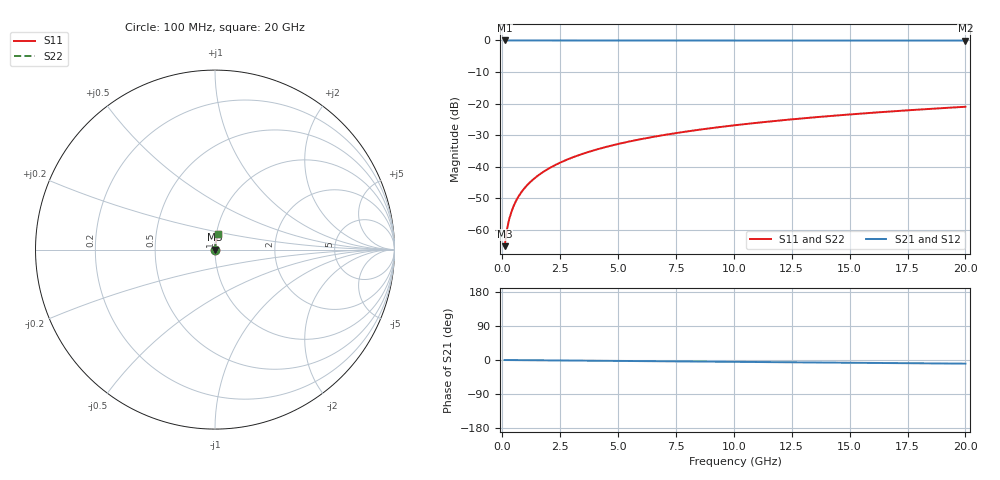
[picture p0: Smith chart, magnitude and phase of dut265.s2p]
! Touchstone file exported from HFSS 2026.1.0
!  File:  C:/ffzhzh/LocalFiles/Ansys_Project_Files/temp_train_TSV_265_1782993171_40604.aedt
!  Generated:  07:54:25 PM Jul  2, 2026
!  Design:  TSV
!  Project:  temp_train_TSV_265_1782993171_40604
! Variables:
!  h_bsmrdl = 2um
!  h_ox = 20um
!  h_rdl = 5um
!  h_sub = 74.91um
!  h_tmrdl = 5um
!  h_tsv = 74.91um
!  h_via = 3um
!  l_bsmrdl = 300um
!  l_sub = 412.32um
!  l_tmrdl = 200um
!  m_sub = 200um
!  pitch = 58.76um
!  r_tsv = 6.16um
!  s_tmrdl = 10um
!  w_bsmrdl = 18um
!  w_sub = 500um
!  w_tmrdl = 12um
!  x_tsv_center1 = 206um
!  x_tsv_center2 = 524um
!  x_tsv_center3 = 736um
!  x_tsv_center4 = 1054um
!  x_tsv_center5 = 1266um
!  x_tsv_center6 = 1584um
# GHz S MA R 50.000000
! Terminal data exported
! Port[1] = TSV1_1_T1
! Port[2] = TSV1_1_T2
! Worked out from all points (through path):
!   200 points, 100 MHz to 20 GHz, reference 50 ohm
!   highest |S21| = 0.00 dB at 100 MHz (marker M1); lowest = 0.0 dB at 20 GHz (marker M2)
!   group delay of S21, straight-line fit = 1.34 ps
!   lowest |S11| = -65.1 dB at 100 MHz (marker M3), VSWR 1.00, Z = 50 + j0.0489 ohm
!   |S11| at or under -10 dB: start of sweep to end of sweep
!   |S22| runs from -65.1 to -21.0 dB; largest |S21 - S12| = 3.5e-15
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0.1  0.0005529 62.1  0.9997 -0.1  0.9997 -0.1  0.0005529 62.1
! Gamma 0 0 0 0
! Port Impedance 50 0 50 0
0.2  0.001012 74.6  0.9997 -0.1  0.9997 -0.1  0.001012 74.6
0.3  0.001487 79.0  0.9997 -0.2  0.9997 -0.2  0.001487 79.0
0.4  0.001963 81.1  0.9997 -0.2  0.9997 -0.2  0.001963 81.1
0.5  0.002438 82.4  0.9997 -0.3  0.9997 -0.3  0.002438 82.4
0.6  0.00291 83.1  0.9997 -0.3  0.9997 -0.3  0.00291 83.1
0.7  0.003379 83.7  0.9996 -0.4  0.9996 -0.4  0.003379 83.7
0.8  0.003845 84.1  0.9996 -0.4  0.9996 -0.4  0.003845 84.1
1  0.004771 84.6  0.9996 -0.5  0.9996 -0.5  0.004771 84.6
1.4  0.006609 85.3  0.9995 -0.7  0.9995 -0.7  0.006609 85.3
1.7  0.007981 85.5  0.9995 -0.8  0.9995 -0.8  0.007981 85.5
2  0.00935 85.7  0.9994 -1.0  0.9994 -1.0  0.00935 85.7
2.7  0.01254 85.9  0.9993 -1.3  0.9993 -1.3  0.01254 85.9
3.5  0.01617 85.8  0.9992 -1.7  0.9992 -1.7  0.01617 85.8
4.2  0.01933 85.7  0.999 -2.1  0.999 -2.1  0.01933 85.7
5  0.02293 85.5  0.9989 -2.4  0.9989 -2.4  0.02293 85.5
6.8  0.031 84.9  0.9985 -3.3  0.9985 -3.3  0.031 84.9
8.3  0.03769 84.3  0.9982 -4.0  0.9982 -4.0  0.03769 84.3
10.1  0.04569 83.6  0.9978 -4.9  0.9978 -4.9  0.04569 83.6
13.4  0.06029 82.2  0.9968 -6.5  0.9968 -6.5  0.06029 82.2
16.7  0.07478 80.8  0.9957 -8.1  0.9957 -8.1  0.07478 80.8
20  0.08914 79.3  0.9943 -9.6  0.9943 -9.6  0.08914 79.3
